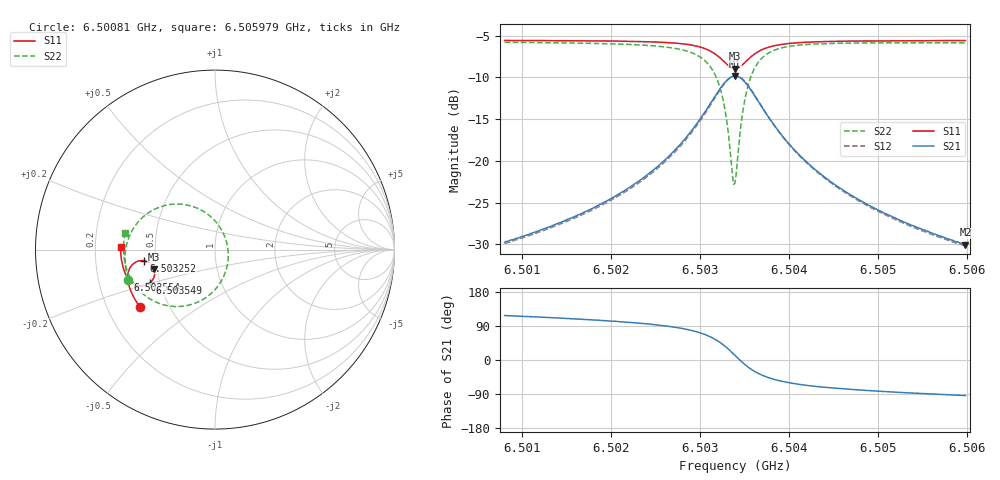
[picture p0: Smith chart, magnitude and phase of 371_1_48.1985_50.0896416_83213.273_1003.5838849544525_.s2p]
#  HZ  S  RI  R  50.00
! Rohde & Schwarz Vector Network Analyzer
! Rohde-Schwarz,ZNB20-2Port,1311601062101988,3.16
! Created: UTC 3/20/2024, 11:52:42 AM
! freq[Hz]  re:S11  im:S11  re:S21  im:S21  re:S12  im:S12  re:S22  im:S22
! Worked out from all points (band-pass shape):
!   401 points, 6.50081 GHz to 6.505979 GHz, reference 50 ohm
!   highest |S21| = -9.83 dB at 6.503394 GHz (marker M1); lowest = -30.0 dB at 6.505979 GHz (marker M2)
!   |S21| within 3 dB of the highest: 6.503136 GHz to 6.503653 GHz (516.7 kHz wide, 0.00795 % of centre)
!   lowest |S11| = -8.9 dB at 6.503394 GHz (marker M3), VSWR 2.11, Z = 24.2 - j6.08 ohm
!   |S11| at or under -10 dB: nowhere
!   |S22| runs from -22.8 to -5.8 dB; largest |S21 - S12| = 0.011
!   S11 on the Smith chart (normalised r, x): 6.50081 GHz: 0.34, -0.30; 6.502554 GHz: 0.33, -0.15; 6.503252 GHz: 0.43, -0.06; 6.503549 GHz: 0.44, -0.20; 6.505979 GHz: 0.31, +0.01
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6.5008096e9  -0.4198 -0.3178  -0.0149 0.0289  -0.0133 0.0291  -0.4855 -0.1669
6.5016754e9  -0.4579 -0.255  -0.0145 0.0462  -0.0122 0.0459  -0.5012 -0.077
6.5021664e9  -0.4757 -0.2122  -0.0116 0.0661  -0.00874 0.0649  -0.4991 -0.0089
6.5025412e9  -0.4851 -0.1716  -0.00334 0.094  0.000397 0.0918  -0.4814 0.0639
6.5025541e9  -0.4853 -0.17  -0.0027 0.0954  0.000863 0.0931  -0.4801 0.0669
6.5027996e9  -0.4849 -0.1349  0.0152 0.1281  0.019 0.1245  -0.4425 0.1361
6.5029805e9  -0.4736 -0.1017  0.0494 0.1639  0.0526 0.1585  -0.3753 0.202
6.5031485e9  -0.4394 -0.0686  0.1258 0.1972  0.127 0.1907  -0.235 0.2528
6.5032519e9  -0.3974 -0.0616  0.21 0.1889  0.2102 0.1835  -0.0886 0.2262
6.5033036e9  -0.3722 -0.0699  0.2577 0.1614  0.2584 0.1568  -0.00908 0.17
6.5033682e9  -0.346 -0.0958  0.3049 0.0992  0.3074 0.0941  0.062 0.0501
6.5033941e9  -0.3396 -0.1099  0.3152 0.0676  0.3182 0.0617  0.0731 -0.00859
6.503407e9  -0.3376 -0.1176  0.3179 0.0511  0.3211 0.0447  0.0739 -0.0388
6.5034845e9  -0.3434 -0.1616  0.3016 -0.042  0.3035 -0.0517  0.0179 -0.2014
6.5035491e9  -0.3642 -0.1869  0.2598 -0.0954  0.2587 -0.1063  -0.0763 -0.2829
6.5036525e9  -0.4028 -0.202  0.1867 -0.1313  0.1816 -0.1405  -0.2233 -0.317
6.5038205e9  -0.4483 -0.1923  0.1067 -0.1286  0.0999 -0.1335  -0.3676 -0.2715
6.5040014e9  -0.4755 -0.1709  0.063 -0.1092  0.057 -0.1114  -0.4386 -0.2081
6.5042598e9  -0.496 -0.1409  0.0333 -0.0856  0.0289 -0.086  -0.4812 -0.137
6.5046604e9  -0.512 -0.0997  0.0144 -0.0624  0.0111 -0.062  -0.504 -0.0606
6.5051256e9  -0.5211 -0.0575  0.00484 -0.0469  0.00271 -0.0462  -0.5097 0.00306
6.5059785e9  -0.5258 0.0145  -0.00212 -0.0314  -0.00341 -0.0306  -0.5015 0.0918
